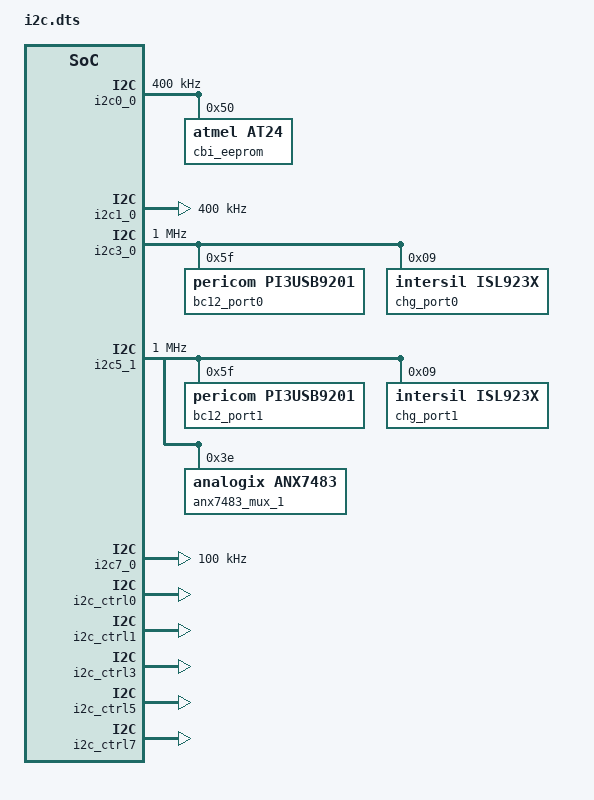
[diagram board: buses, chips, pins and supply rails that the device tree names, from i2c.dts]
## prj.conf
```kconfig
# Copyright 2022 The ChromiumOS Authors
# Use of this source code is governed by a BSD-style license that can be
# found in the LICENSE file.

CONFIG_BOARD_CRAASK=y
CONFIG_PLATFORM_EC_OCPC=y

# Sensor drivers
CONFIG_PLATFORM_EC_ACCELGYRO_LSM6DSO=y
CONFIG_PLATFORM_EC_ACCEL_BMA4XX=y
CONFIG_PLATFORM_EC_ACCELGYRO_BMI_COMM_I2C=y
CONFIG_PLATFORM_EC_ACCELGYRO_BMI3XX=y
CONFIG_PLATFORM_EC_DYNAMIC_MOTION_SENSOR_COUNT=y

CONFIG_PLATFORM_EC_BUTTONS_RUNTIME_CONFIG=y

CONFIG_PLATFORM_EC_CHARGER_PROFILE_OVERRIDE=y
```

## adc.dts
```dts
/* Copyright 2022 The ChromiumOS Authors
 * Use of this source code is governed by a BSD-style license that can be
 * found in the LICENSE file.
 */

/ {
	named-adc-channels {
		compatible = "named-adc-channels";

		adc_ec_vsense_pp1050_proc: ec_vsense_pp1050_proc {
			enum-name = "ADC_PP1050_PROC";
			io-channels = <&adc0 4>;
		};
		adc_ec_vsense_pp3300_s5: ec_vsense_pp3300_s5 {
			enum-name = "ADC_PP3300_S5";
			io-channels = <&adc0 6>;
		};
		adc_temp_sensor_1: temp_sensor_1 {
			enum-name = "ADC_TEMP_SENSOR_1";
			io-channels = <&adc0 0>;
		};
		adc_temp_sensor_2: temp_sensor_2 {
			enum-name = "ADC_TEMP_SENSOR_2";
			io-channels = <&adc0 1>;
		};
		adc_temp_sensor_3: temp_sensor_3 {
			enum-name = "ADC_TEMP_SENSOR_3";
			io-channels = <&adc0 10>;
		};
	};
};

&adc0 {
	status = "okay";
	pinctrl-0 = <&adc0_chan0_gp45
		     &adc0_chan1_gp44
		     &adc0_chan4_gp41
		     &adc0_chan6_gp34
		     &adc0_chan10_gpe0>;
	pinctrl-names = "default";
};
```

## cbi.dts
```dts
/* Copyright 2022 The ChromiumOS Authors
 * Use of this source code is governed by a BSD-style license that can be
 * found in the LICENSE file.
 */

/ {
	/* Craask-specific fw_config fields. */
	nissa-fw-config {
		/*
		 * FW_CONFIG field to describe Lid sensor orientation.
		 */
		lid-inversion {
			enum-name = "FW_LID_INVERSION";
			start = <8>;
			size = <1>;

			/*
			 * 0: regular placement of the lid sensor
			 * 1: rotate 180' of xy plane.
			 */
			regular {
				compatible = "cros-ec,cbi-fw-config-value";
				enum-name = "FW_LID_REGULAR";
				value = <0>;
				default;
			};
			xy_rotate_180 {
				compatible = "cros-ec,cbi-fw-config-value";
				enum-name = "FW_LID_XY_ROT_180";
				value = <1>;
			};
		};
		/*
		 * FW_CONFIG field to describe Clamshell/Convertible.
		 */
		form_factor {
			enum-name = "FORM_FACTOR";
			start = <10>;
			size = <1>;

			/*
			 * 0: convertible, 1: clamshell
			 */
			convertible {
				compatible = "cros-ec,cbi-fw-config-value";
				enum-name = "CONVERTIBLE";
				value = <0>;
			};
			clamshell {
				compatible = "cros-ec,cbi-fw-config-value";
				enum-name = "CLAMSHELL";
				value = <1>;
			};
		};
	};
	/* Craask-specific ssfc fields. */
	cbi-ssfc {
		compatible = "named-cbi-ssfc";
		/*
		 * SSFC bit0-1 was defined for AUDIO CODEC.
		 * 0: ALC5682I_VS
		 * 1: NAU8825
		 */
		audio_codec {
			enum-name = "AUDIO_CODEC";
			size = <2>;
		};
		/*
		 * SSFC field to identify LID motion sensor.
		 */
		lid-sensor {
			enum-name = "LID_SENSOR";
			size = <2>;

			lid_sensor_0: lis2dw12 {
				compatible = "named-cbi-ssfc-value";
				status = "okay";
				value = <0>;
				default;
			};
			lid_sensor_1: bma422 {
				compatible = "named-cbi-ssfc-value";
				status = "okay";
				value = <1>;
			};
		};
		/*
		 * SSFC field to identify BASE motion sensor.
		 */
		base-sensor {
			enum-name = "BASE_SENSOR";
			size = <2>;

			base_sensor_0: lsm6dso {
				compatible = "named-cbi-ssfc-value";
				status = "okay";
				value = <0>;
				default;
			};
			base_sensor_1: bmi323 {
				compatible = "named-cbi-ssfc-value";
				status = "okay";
				value = <1>;
			};
		};
	};
};
```

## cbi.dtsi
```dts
/* Copyright 2022 The ChromiumOS Authors
 * Use of this source code is governed by a BSD-style license that can be
 * found in the LICENSE file.
 */

/ {
	/* Craask-specific fw_config fields. */
	nissa-fw-config {
		/*
		 * FW_CONFIG field to describe Lid sensor orientation.
		 */
		lid-inversion {
			enum-name = "FW_LID_INVERSION";
			start = <8>;
			size = <1>;

			/*
			 * 0: regular placement of the lid sensor
			 * 1: rotate 180' of xy plane.
			 */
			regular {
				compatible = "cros-ec,cbi-fw-config-value";
				enum-name = "FW_LID_REGULAR";
				value = <0>;
				default;
			};
			xy_rotate_180 {
				compatible = "cros-ec,cbi-fw-config-value";
				enum-name = "FW_LID_XY_ROT_180";
				value = <1>;
			};
		};
		/*
		 * FW_CONFIG field to describe Clamshell/Convertible.
		 */
		form_factor {
			enum-name = "FORM_FACTOR";
			start = <9>;
			size = <1>;

			/*
			 * 0: convertible, 1: clamshell
			 */
			convertible {
				compatible = "cros-ec,cbi-fw-config-value";
				enum-name = "CONVERTIBLE";
				value = <0>;
			};
			clamshell {
				compatible = "cros-ec,cbi-fw-config-value";
				enum-name = "CLAMSHELL";
				value = <1>;
			};
		};

		/*
		 * FW_CONFIG field to indicate which keyboard numeric
		 * pad should be used.
		 */
		kb-numeric-pad {
			enum-name = "FW_KB_NUMERIC_PAD";
			start = <16>;
			size = <1>;

			no-kb-numpad {
				compatible = "cros-ec,cbi-fw-config-value";
				enum-name = "FW_KB_NUMERIC_PAD_ABSENT";
				value = <0>;
				default;
			};
			kb-numpad-present {
				compatible = "cros-ec,cbi-fw-config-value";
				enum-name = "FW_KB_NUMERIC_PAD_PRESENT";
				value = <1>;
			};
		};

		/*
		 * FW_CONFIG field to enable fan or not.
		 */
		fan {
			enum-name = "FW_FAN";
			start = <17>;
			size = <1>;

			no-fan {
				compatible = "cros-ec,cbi-fw-config-value";
				enum-name = "FW_FAN_NOT_PRESENT";
				value = <0>;
			};
			fan-present {
				compatible = "cros-ec,cbi-fw-config-value";
				enum-name = "FW_FAN_PRESENT";
				value = <1>;
				/*
				 * Set as default so that unprovisioned
				 * configs will run the fan regardless.
				 */
				default;
			};
		};

		/*
		 * FW_CONFIG field to enable KB back light or not.
		 */
		kb-bl {
			enum-name = "FW_KB_BL";
			start = <18>;
			size = <1>;

			no-kb-bl {
				compatible = "cros-ec,cbi-fw-config-value";
				enum-name = "FW_KB_BL_NOT_PRESENT";
				value = <0>;
			};
			kb-bl-present {
				compatible = "cros-ec,cbi-fw-config-value";
				enum-name = "FW_KB_BL_PRESENT";
				value = <1>;
			};
		};
	};
	/* Craask-specific ssfc fields. */
	cbi-ssfc {
		compatible = "named-cbi-ssfc";
		/*
		 * SSFC bit0-1 was defined for AUDIO CODEC.
		 * 0: ALC5682I_VS
		 * 1: NAU8825
		 */
		audio_codec {
			enum-name = "AUDIO_CODEC";
			size = <2>;
		};
		/*
		 * SSFC field to identify LID motion sensor.
		 */
		lid-sensor {
			enum-name = "LID_SENSOR";
			size = <2>;

			lid_sensor_0: lis2dw12 {
				compatible = "named-cbi-ssfc-value";
				status = "okay";
				value = <0>;
				default;
			};
			lid_sensor_1: bma422 {
				compatible = "named-cbi-ssfc-value";
				status = "okay";
				value = <1>;
			};
		};
		/*
		 * SSFC field to identify BASE motion sensor.
		 */
		base-sensor {
			enum-name = "BASE_SENSOR";
			size = <2>;

			base_sensor_0: lsm6dso {
				compatible = "named-cbi-ssfc-value";
				status = "okay";
				value = <0>;
				default;
			};
			base_sensor_1: bmi323 {
				compatible = "named-cbi-ssfc-value";
				status = "okay";
				value = <1>;
			};
		};
	};
};
```

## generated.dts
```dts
/* Copyright 2022 The ChromiumOS Authors
 * Use of this source code is governed by a BSD-style license that can be
 * found in the LICENSE file.
 */

/ {

	named-adc-channels {
		compatible = "named-adc-channels";

		adc_ec_vsense_pp1050_proc: ec_vsense_pp1050_proc {
			enum-name = "ADC_PP1050_PROC";
			io-channels = <&adc0 4>;
		};
		adc_ec_vsense_pp3300_s5: ec_vsense_pp3300_s5 {
			enum-name = "ADC_PP3300_S5";
			io-channels = <&adc0 6>;
		};
		adc_temp_sensor_1: temp_sensor_1 {
			enum-name = "ADC_TEMP_SENSOR_1";
			io-channels = <&adc0 0>;
		};
		adc_temp_sensor_2: temp_sensor_2 {
			enum-name = "ADC_TEMP_SENSOR_2";
			io-channels = <&adc0 1>;
		};
		adc_temp_sensor_3: temp_sensor_3 {
			enum-name = "ADC_TEMP_SENSOR_3";
			io-channels = <&adc0 10>;
		};
	};

	named-gpios {
		compatible = "named-gpios";

		gpio_acc_int_l: acc_int_l {
			gpios = <&gpio5 0 GPIO_INPUT>;
		};
		gpio_all_sys_pwrgd: all_sys_pwrgd {
			gpios = <&gpioa 7 GPIO_INPUT>;
		};
		gpio_ccd_mode_odl: ccd_mode_odl {
			gpios = <&gpioe 5 GPIO_INPUT>;
			enum-name = "GPIO_CCD_MODE_ODL";
		};
		gpio_cpu_c10_gate_l: cpu_c10_gate_l {
			gpios = <&gpio6 7 GPIO_INPUT>;
		};
		gpio_ec_battery_pres_odl: ec_battery_pres_odl {
			gpios = <&gpioa 3 GPIO_INPUT>;
			enum-name = "GPIO_BATT_PRES_ODL";
		};
		gpio_ec_cbi_wp: ec_cbi_wp {
			gpios = <&gpio7 4 GPIO_OUTPUT>;
		};
		gpio_ec_edp_bl_en_od: ec_edp_bl_en_od {
			gpios = <&gpiod 3 GPIO_ODR_HIGH>;
			enum-name = "GPIO_ENABLE_BACKLIGHT";
		};
		gpio_ec_entering_rw: ec_entering_rw {
			gpios = <&gpio0 3 GPIO_OUTPUT>;
			enum-name = "GPIO_ENTERING_RW";
		};
		gpio_ec_gsc_packet_mode: ec_gsc_packet_mode {
			gpios = <&gpio7 5 GPIO_OUTPUT>;
			enum-name = "GPIO_PACKET_MODE_EN";
		};
		gpio_ec_kso_02_inv: ec_kso_02_inv {
			gpios = <&gpio1 7 (GPIO_OUTPUT | GPIO_ACTIVE_LOW)>;
		};
		gpio_ec_pch_wake_odl: ec_pch_wake_odl {
			gpios = <&gpiob 0 GPIO_ODR_LOW>;
		};
		gpio_ec_prochot_odl: ec_prochot_odl {
			gpios = <&gpiof 1 GPIO_ODR_HIGH>;
		};
		gpio_ec_soc_dsw_pwrok: ec_soc_dsw_pwrok {
			gpios = <&gpio6 1 GPIO_OUTPUT>;
		};
		gpio_ec_soc_hdmi_hpd: ec_soc_hdmi_hpd {
			gpios = <&gpioe 4 GPIO_OUTPUT>;
		};
		gpio_ec_soc_int_odl: ec_soc_int_odl {
			gpios = <&gpio8 0 GPIO_ODR_HIGH>;
			enum-name = "GPIO_EC_INT_L";
		};
		gpio_ec_soc_pch_pwrok_od: ec_soc_pch_pwrok_od {
			gpios = <&gpio7 2 GPIO_ODR_HIGH>;
		};
		gpio_ec_soc_pwr_btn_odl: ec_soc_pwr_btn_odl {
			gpios = <&gpioc 1 GPIO_ODR_HIGH>;
			enum-name = "GPIO_PCH_PWRBTN_L";
		};
		gpio_ec_soc_rsmrst_l: ec_soc_rsmrst_l {
			gpios = <&gpioa 6 GPIO_OUTPUT>;
		};
		gpio_ec_soc_rtcrst: ec_soc_rtcrst {
			gpios = <&gpio7 6 GPIO_OUTPUT>;
		};
		gpio_ec_soc_sys_pwrok: ec_soc_sys_pwrok {
			gpios = <&gpio3 7 GPIO_OUTPUT>;
		};
		gpio_ec_soc_vccst_pwrgd_od: ec_soc_vccst_pwrgd_od {
			gpios = <&gpioa 4 GPIO_ODR_HIGH>;
		};
		gpio_ec_wp_odl: ec_wp_odl {
			gpios = <&gpioa 1 (GPIO_INPUT | GPIO_ACTIVE_LOW)>;
		};
		gpio_en_kb_bl: en_kb_bl {
			gpios = <&gpioa 0 GPIO_OUTPUT>;
			enum-name = "GPIO_EN_KEYBOARD_BACKLIGHT";
		};
		gpio_en_pp3300_s5: en_pp3300_s5 {
			gpios = <&gpiob 6 GPIO_OUTPUT>;
			enum-name = "GPIO_TEMP_SENSOR_POWER";
		};
		gpio_en_pp5000_pen_x: en_pp5000_pen_x {
			gpios = <&gpioe 2 GPIO_OUTPUT>;
		};
		gpio_en_pp5000_s5: en_pp5000_s5 {
			gpios = <&gpio4 0 GPIO_OUTPUT>;
		};
		gpio_en_slp_z: en_slp_z {
			gpios = <&gpioe 1 GPIO_OUTPUT>;
		};
		gpio_en_usb_a0_vbus: en_usb_a0_vbus {
			gpios = <&gpio9 1 GPIO_OUTPUT>;
		};
		gpio_gsc_ec_pwr_btn_odl: gsc_ec_pwr_btn_odl {
			gpios = <&gpio0 0 GPIO_INPUT_PULL_UP>;
			enum-name = "GPIO_POWER_BUTTON_L";
		};
		gpio_hdmi_sel: hdmi_sel {
			gpios = <&gpioc 6 GPIO_OUTPUT>;
		};
		gpio_imu_int_l: imu_int_l {
			gpios = <&gpio5 6 GPIO_INPUT>;
		};
		gpio_imvp91_vrrdy_od: imvp91_vrrdy_od {
			gpios = <&gpio4 3 GPIO_INPUT>;
		};
		gpio_lid_open: lid_open {
			gpios = <&gpiod 2 GPIO_INPUT>;
			enum-name = "GPIO_LID_OPEN";
		};
		gpio_pen_detect_odl: pen_detect_odl {
			gpios = <&gpio9 6 GPIO_INPUT_PULL_UP>;
		};
		gpio_pg_pp1050_mem_s3_od: pg_pp1050_mem_s3_od {
			gpios = <&gpiof 0 GPIO_INPUT>;
		};
		gpio_pg_pp5000_s5_od: pg_pp5000_s5_od {
			gpios = <&gpio4 2 GPIO_INPUT>;
		};
		gpio_rsmrst_pwrgd_l: rsmrst_pwrgd_l {
			gpios = <&gpio9 4 GPIO_INPUT_PULL_UP>;
		};
		gpio_slp_s0_l: slp_s0_l {
			gpios = <&gpio9 7 GPIO_INPUT>;
		};
		gpio_slp_s3_l: slp_s3_l {
			gpios = <&gpioa 5 GPIO_INPUT>;
		};
		gpio_slp_s4_l: slp_s4_l {
			gpios = <&gpio7 0 GPIO_INPUT>;
		};
		gpio_slp_sus_l: slp_sus_l {
			gpios = <&gpio6 2 GPIO_INPUT>;
		};
		gpio_sub_usb_a1_ilimit_sdp: sub_usb_a1_ilimit_sdp {
			gpios = <&gpiod 5 GPIO_OUTPUT>;
			enum-name = "GPIO_USB2_ILIM_SEL";
		};
		gpio_sys_rst_odl: sys_rst_odl {
			gpios = <&gpioc 5 GPIO_ODR_HIGH>;
		};
		gpio_tablet_mode_l: tablet_mode_l {
			gpios = <&gpio9 5 GPIO_INPUT>;
			enum-name = "GPIO_TABLET_MODE_L";
		};
		gpio_usb_a0_ilimit_sdp: usb_a0_ilimit_sdp {
			/* pin is output only */
			gpios = <&gpio8 5 (GPIO_GET_OUTPUT | GPIO_OUTPUT)>;
			enum-name = "GPIO_USB1_ILIM_SEL";
		};
		gpio_usb_c0_int_odl: usb_c0_int_odl {
			gpios = <&gpio0 1 GPIO_INPUT_PULL_UP>;
		};
		gpio_vccin_aux_vid0: vccin_aux_vid0 {
			gpios = <&gpio9 2 (GPIO_INPUT | GPIO_VOLTAGE_1P8)>;
		};
		gpio_vccin_aux_vid1: vccin_aux_vid1 {
			gpios = <&gpioe 3 (GPIO_INPUT | GPIO_VOLTAGE_1P8)>;
		};
		gpio_voldn_btn_odl: voldn_btn_odl {
			gpios = <&gpio9 3 GPIO_INPUT_PULL_UP>;
			enum-name = "GPIO_VOLUME_DOWN_L";
		};
		gpio_volup_btn_odl: volup_btn_odl {
			gpios = <&gpioa 2 GPIO_INPUT_PULL_UP>;
			enum-name = "GPIO_VOLUME_UP_L";
		};
	};

	named-i2c-ports {
		compatible = "named-i2c-ports";

		i2c_ec_i2c_eeprom: ec_i2c_eeprom {
			i2c-port = <&i2c0_0>;
			enum-names = "I2C_PORT_EEPROM";
		};
		i2c_ec_i2c_sensor: ec_i2c_sensor {
			i2c-port = <&i2c1_0>;
			enum-names = "I2C_PORT_SENSOR";
		};
		i2c_ec_i2c_usb_c0: ec_i2c_usb_c0 {
			i2c-port = <&i2c3_0>;
			enum-names = "I2C_PORT_USB_C0_TCPC";
		};
		i2c_ec_i2c_sub_usb_c1: ec_i2c_sub_usb_c1 {
			i2c-port = <&i2c5_1>;
			enum-names = "I2C_PORT_USB_C1_TCPC";
		};
		i2c_ec_i2c_batt: ec_i2c_batt {
			i2c-port = <&i2c7_0>;
			enum-names = "I2C_PORT_BATTERY";
		};
	};
};

&adc0 {
	status = "okay";
	pinctrl-0 = <&adc0_chan0_gp45
		     &adc0_chan1_gp44
		     &adc0_chan4_gp41
		     &adc0_chan6_gp34
		     &adc0_chan10_gpe0>;
	pinctrl-names = "default";
};

&i2c0_0 {
	status = "okay";
	pinctrl-0 = <&i2c0_0_sda_scl_gpb4_b5>;
	pinctrl-names = "default";
};

&i2c1_0 {
	status = "okay";
	pinctrl-0 = <&i2c1_0_sda_scl_gp87_90>;
	pinctrl-names = "default";
};

&i2c3_0 {
	status = "okay";
	pinctrl-0 = <&i2c3_0_sda_scl_gpd0_d1>;
	pinctrl-names = "default";
};

&i2c5_1 {
	status = "okay";
	pinctrl-0 = <&i2c5_1_sda_scl_gpf4_f5>;
	pinctrl-names = "default";
};

&i2c7_0 {
	status = "okay";
	pinctrl-0 = <&i2c7_0_sda_scl_gpb2_b3>;
	pinctrl-names = "default";
};

&i2c_ctrl0 {
	status = "okay";
};

&i2c_ctrl1 {
	status = "okay";
};

&i2c_ctrl3 {
	status = "okay";
};

&i2c_ctrl5 {
	status = "okay";
};

&i2c_ctrl7 {
	status = "okay";
};
```

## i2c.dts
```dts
/* Copyright 2022 The ChromiumOS Authors
 * Use of this source code is governed by a BSD-style license that can be
 * found in the LICENSE file.
 */

/ {
	named-i2c-ports {
		compatible = "named-i2c-ports";

		i2c_ec_i2c_eeprom: ec_i2c_eeprom {
			i2c-port = <&i2c0_0>;
			enum-names = "I2C_PORT_EEPROM";
		};
		i2c_ec_i2c_sensor: ec_i2c_sensor {
			i2c-port = <&i2c1_0>;
			enum-names = "I2C_PORT_SENSOR";
		};
		i2c_ec_i2c_usb_c0: ec_i2c_usb_c0 {
			i2c-port = <&i2c3_0>;
			enum-names = "I2C_PORT_USB_C0_TCPC";
		};
		i2c_ec_i2c_sub_usb_c1: ec_i2c_sub_usb_c1 {
			i2c-port = <&i2c5_1>;
			enum-names = "I2C_PORT_USB_C1_TCPC";
		};
		i2c_ec_i2c_batt: ec_i2c_batt {
			i2c-port = <&i2c7_0>;
			enum-names = "I2C_PORT_BATTERY";
		};
	};
};

&i2c0_0 {
	label = "I2C_EEPROM";
	clock-frequency = <I2C_BITRATE_FAST>;
	status = "okay";
	pinctrl-0 = <&i2c0_0_sda_scl_gpb4_b5>;
	pinctrl-names = "default";

	cbi_eeprom: eeprom@50 {
		compatible = "atmel,at24";
		reg = <0x50>;
		size = <2048>;
		pagesize = <16>;
		address-width = <8>;
		timeout = <5>;
	};
};

/* Set bus speeds for I2C */
&i2c1_0 {
	label = "I2C_SENSOR";
	clock-frequency = <I2C_BITRATE_FAST>;
	status = "okay";
	pinctrl-0 = <&i2c1_0_sda_scl_gp87_90>;
	pinctrl-names = "default";
};

&i2c3_0 {
	label = "I2C_USB_C0_TCPC";
	clock-frequency = <I2C_BITRATE_FAST_PLUS>;
	status = "okay";
	pinctrl-0 = <&i2c3_0_sda_scl_gpd0_d1>;
	pinctrl-names = "default";

	bc12_port0: pi3usb9201@5f {
		compatible = "pericom,pi3usb9201";
		status = "okay";
		reg = <0x5f>;
		/*
		 * BC1.2 interrupt is shared with TCPC, so
		 * IRQ is not specified here and handled by
		 * usb_c0_interrupt.
		 */
	};

	chg_port0: isl923x@9 {
		compatible = "intersil,isl923x";
		status = "okay";
		reg = <0x9>;
	};
};

&i2c5_1 {
	label = "I2C_SUB_C1_TCPC";
	clock-frequency = <I2C_BITRATE_FAST_PLUS>;
	status = "okay";
	pinctrl-0 = <&i2c5_1_sda_scl_gpf4_f5>;
	pinctrl-names = "default";

	bc12_port1: pi3usb9201@5f {
		compatible = "pericom,pi3usb9201";
		status = "okay";
		reg = <0x5f>;
	};

	chg_port1: isl923x@9 {
		compatible = "intersil,isl923x";
		status = "okay";
		reg = <0x9>;
	};

	anx7483_mux_1: anx7483-mux-1@3e {
		compatible = "analogix,anx7483";
		reg = <0x3e>;
		board-set = "anx7483_set_default_tuning";
	};
};

&i2c7_0 {
	label = "I2C_BATTERY";
	clock-frequency = <I2C_BITRATE_STANDARD>;
	status = "okay";
	pinctrl-0 = <&i2c7_0_sda_scl_gpb2_b3>;
	pinctrl-names = "default";
};

&i2c_ctrl0 {
	status = "okay";
};

&i2c_ctrl1 {
	status = "okay";
};

&i2c_ctrl3 {
	status = "okay";
};

&i2c_ctrl5 {
	status = "okay";
};

&i2c_ctrl7 {
	status = "okay";
};
```

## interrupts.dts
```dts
/* Copyright 2022 The ChromiumOS Authors
 * Use of this source code is governed by a BSD-style license that can be
 * found in the LICENSE file.
 */

/ {
	aliases {
		int-wp = &int_wp_l;
	};

	gpio-interrupts {
		compatible = "cros-ec,gpio-interrupts";

		int_power_button: power_button {
			irq-pin = <&gpio_gsc_ec_pwr_btn_odl>;
			flags = <GPIO_INT_EDGE_BOTH>;
			handler = "power_button_interrupt";
		};
		int_wp_l: wp_l {
			irq-pin = <&gpio_ec_wp_odl>;
			flags = <GPIO_INT_EDGE_BOTH>;
			handler = "switch_interrupt";
		};
		int_lid_open: lid_open {
			irq-pin = <&gpio_lid_open>;
			flags = <GPIO_INT_EDGE_BOTH>;
			handler = "lid_interrupt";
		};
		int_tablet_mode: tablet_mode {
			irq-pin = <&gpio_tablet_mode_l>;
			flags = <GPIO_INT_EDGE_BOTH>;
			handler = "gmr_tablet_switch_isr";
		};
		int_imu: ec_imu {
			irq-pin = <&gpio_imu_int_l>;
			flags = <GPIO_INT_EDGE_FALLING>;
			handler = "motion_interrupt";
		};
		int_vol_down: vol_down {
			irq-pin = <&gpio_voldn_btn_odl>;
			flags = <GPIO_INT_EDGE_BOTH>;
			handler = "button_interrupt";
		};
		int_vol_up: vol_up {
			irq-pin = <&gpio_volup_btn_odl>;
			flags = <GPIO_INT_EDGE_BOTH>;
			handler = "button_interrupt";
		};
		int_usb_c0: usb_c0 {
			irq-pin = <&gpio_usb_c0_int_odl>;
			flags = <GPIO_INT_EDGE_FALLING>;
			handler = "usb_interrupt";
		};
		int_usb_c1: usb_c1 {
			irq-pin = <&gpio_sb_1>;
			flags = <GPIO_INT_EDGE_FALLING>;
			handler = "usb_interrupt";
		};
	};
};
```

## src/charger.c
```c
/* Copyright 2022 The ChromiumOS Authors
 * Use of this source code is governed by a BSD-style license that can be
 * found in the LICENSE file.
 */

#include <zephyr/logging/log.h>

#include "battery.h"
#include "charger.h"
#include "charger/isl923x_public.h"
#include "console.h"
#include "extpower.h"
#include "usb_mux.h"
#include "usb_pd.h"
#include "nissa_common.h"

LOG_MODULE_DECLARE(nissa, CONFIG_NISSA_LOG_LEVEL);

int extpower_is_present(void)
{
	int port;
	int rv;
	bool acok;

	for (port = 0; port < board_get_usb_pd_port_count(); port++) {
		rv = raa489000_is_acok(port, &acok);
		if ((rv == EC_SUCCESS) && acok)
			return 1;
	}

	return 0;
}

/*
 * Craask does not have a GPIO indicating whether extpower is present,
 * so detect using the charger(s).
 */
__override void board_check_extpower(void)
{
	static int last_extpower_present;
	int extpower_present = extpower_is_present();

	if (last_extpower_present ^ extpower_present)
		extpower_handle_update(extpower_present);

	last_extpower_present = extpower_present;
}

__override void board_hibernate(void)
{
	/* Shut down the chargers */
	if (board_get_usb_pd_port_count() == 2)
		raa489000_hibernate(CHARGER_SECONDARY, true);
	raa489000_hibernate(CHARGER_PRIMARY, true);
	LOG_INF("Charger(s) hibernated");
	cflush();
}
```

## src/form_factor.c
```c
/* Copyright 2022 The ChromiumOS Authors
 * Use of this source code is governed by a BSD-style license that can be
 * found in the LICENSE file.
 */

#include <zephyr/devicetree.h>
#include <zephyr/logging/log.h>

#include "accelgyro.h"
#include "button.h"
#include "cros_board_info.h"
#include "cros_cbi.h"
#include "driver/accelgyro_bmi323.h"
#include "driver/accelgyro_lsm6dso.h"
#include "gpio/gpio_int.h"
#include "hooks.h"
#include "motionsense_sensors.h"
#include "nissa_sub_board.h"
#include "tablet_mode.h"

#include "nissa_common.h"

LOG_MODULE_DECLARE(nissa, CONFIG_NISSA_LOG_LEVEL);

/*
 * Mainboard orientation support.
 */

#define LIS_ALT_MAT SENSOR_ROT_STD_REF_NAME(DT_NODELABEL(lid_rot_bma422))
#define BMA_ALT_MAT SENSOR_ROT_STD_REF_NAME(DT_NODELABEL(lid_rot_ref))
#define ALT_MAT SENSOR_ROT_STD_REF_NAME(DT_NODELABEL(base_rot_ver1))
#define LID_SENSOR SENSOR_ID(DT_NODELABEL(lid_accel))
#define BASE_SENSOR SENSOR_ID(DT_NODELABEL(base_accel))
#define BASE_GYRO SENSOR_ID(DT_NODELABEL(base_gyro))
#define ALT_LID_S SENSOR_ID(DT_NODELABEL(alt_lid_accel))

static bool use_alt_sensor;

void motion_interrupt(enum gpio_signal signal)
{
	if (use_alt_sensor)
		bmi3xx_interrupt(signal);
	else
		lsm6dso_interrupt(signal);
}

static void form_factor_init(void)
{
	int ret;
	uint32_t val;
	enum nissa_sub_board_type sb = nissa_get_sb_type();

	ret = cbi_get_board_version(&val);
	if (ret != EC_SUCCESS) {
		LOG_ERR("Error retrieving CBI BOARD_VER.");
		return;
	}
	/*
	 * The volume up/down button are exchanged on ver3 USB
	 * sub board.
	 *
	 * LTE:
	 *   volup -> gpioa2, voldn -> gpio93
	 * USB:
	 *   volup -> gpio93, voldn -> gpioa2
	 */
	if (val == 3 && sb == NISSA_SB_C_A) {
		LOG_INF("Volume up/down btn exchanged on ver3 USB sku");
		buttons[BUTTON_VOLUME_UP].gpio = GPIO_VOLUME_DOWN_L;
		buttons[BUTTON_VOLUME_DOWN].gpio = GPIO_VOLUME_UP_L;
	}

	/*
	 * If the board version is 1
	 * use ver1 rotation matrix.
	 */
	if (val == 1) {
		LOG_INF("Switching to ver1 base");
		motion_sensors[BASE_SENSOR].rot_standard_ref = &ALT_MAT;
		motion_sensors[BASE_GYRO].rot_standard_ref = &ALT_MAT;
	}

	/*
	 * If the firmware config indicates
	 * an craaskbowl form factor, use the alternative
	 * rotation matrix.
	 */
	ret = cros_cbi_get_fw_config(FW_LID_INVERSION, &val);
	if (ret != 0) {
		LOG_ERR("Error retrieving CBI FW_CONFIG field %d",
			FW_LID_INVERSION);
		return;
	}
	if (val == FW_LID_XY_ROT_180) {
		LOG_INF("Lid sensor placement rotate 180 on xy plane");
		motion_sensors[LID_SENSOR].rot_standard_ref = &LIS_ALT_MAT;
		motion_sensors_alt[ALT_LID_S].rot_standard_ref = &BMA_ALT_MAT;
	}

	/* check which base sensor is used for motion_interrupt */
	use_alt_sensor = cros_cbi_ssfc_check_match(
		CBI_SSFC_VALUE_ID(DT_NODELABEL(base_sensor_1)));

	motion_sensors_check_ssfc();

	/* Check if it's clamshell or convertible */
	ret = cros_cbi_get_fw_config(FORM_FACTOR, &val);
	if (ret != 0) {
		LOG_ERR("Error retrieving CBI FW_CONFIG field %d", FORM_FACTOR);
		return;
	}
	if (val == CLAMSHELL) {
		LOG_INF("Clamshell: disable motionsense function.");
		motion_sensor_count = 0;
		gmr_tablet_switch_disable();
		gpio_disable_dt_interrupt(GPIO_INT_FROM_NODELABEL(int_imu));
		gpio_pin_configure_dt(GPIO_DT_FROM_NODELABEL(gpio_imu_int_l),
				      GPIO_DISCONNECTED);
	}
}
DECLARE_HOOK(HOOK_INIT, form_factor_init, HOOK_PRIO_POST_I2C);
```

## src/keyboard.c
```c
/* Copyright 2022 The ChromiumOS Authors
 * Use of this source code is governed by a BSD-style license that can be
 * found in the LICENSE file.
 */

#include "ec_commands.h"
#include "keyboard_scan.h"
#include "timer.h"

/* Keyboard scan setting */
__override struct keyboard_scan_config keyscan_config = {
	/* Increase from 50 us, because KSO_02 passes through the H1. */
	.output_settle_us = 80,
	/* Other values should be the same as the default configuration. */
	.debounce_down_us = 9 * MSEC,
	.debounce_up_us = 30 * MSEC,
	.scan_period_us = 3 * MSEC,
	.min_post_scan_delay_us = 1000,
	.poll_timeout_us = 100 * MSEC,
	.actual_key_mask = {
		0x1c, 0xfe, 0xff, 0xff, 0xff, 0xf5, 0xff,
		0xa4, 0xff, 0xfe, 0x55, 0xfa, 0xca  /* full set */
	},
};

static const struct ec_response_keybd_config craask_kb = {
	.num_top_row_keys = 10,
	.action_keys = {
		TK_BACK,		/* T1 */
		TK_REFRESH,		/* T2 */
		TK_FULLSCREEN,		/* T3 */
		TK_OVERVIEW,		/* T4 */
		TK_SNAPSHOT,		/* T5 */
		TK_BRIGHTNESS_DOWN,	/* T6 */
		TK_BRIGHTNESS_UP,	/* T7 */
		TK_VOL_MUTE,		/* T8 */
		TK_VOL_DOWN,		/* T9 */
		TK_VOL_UP,		/* T10 */
	},
	.capabilities = KEYBD_CAP_SCRNLOCK_KEY,
};

__override const struct ec_response_keybd_config *
board_vivaldi_keybd_config(void)
{
	return &craask_kb;
}
```

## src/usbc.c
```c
/* Copyright 2022 The Chromium OS Authors. All rights reserved.
 * Use of this source code is governed by a BSD-style license that can be
 * found in the LICENSE file.
 */

#include <zephyr/logging/log.h>

#include "charge_state_v2.h"
#include "chipset.h"
#include "cros_board_info.h"
#include "hooks.h"
#include "usb_mux.h"
#include "system.h"
#include "driver/bc12/max14637.h"
#include "driver/charger/isl923x_public.h"
#include "driver/retimer/anx7483_public.h"
#include "driver/tcpm/tcpci.h"
#include "driver/tcpm/raa489000.h"

#include "nissa_common.h"

LOG_MODULE_DECLARE(nissa, CONFIG_NISSA_LOG_LEVEL);

struct tcpc_config_t tcpc_config[CONFIG_USB_PD_PORT_MAX_COUNT] = {
	{
		.bus_type = EC_BUS_TYPE_I2C,
		.i2c_info = {
			.port = I2C_PORT_USB_C0_TCPC,
			.addr_flags = RAA489000_TCPC0_I2C_FLAGS,
		},
		.drv = &raa489000_tcpm_drv,
		/* RAA489000 implements TCPCI 2.0 */
		.flags = TCPC_FLAGS_TCPCI_REV2_0 |
			TCPC_FLAGS_VBUS_MONITOR,
	},
	{ /* sub-board */
		.bus_type = EC_BUS_TYPE_I2C,
		.i2c_info = {
			.port = I2C_PORT_USB_C1_TCPC,
			.addr_flags = RAA489000_TCPC0_I2C_FLAGS,
		},
		.drv = &raa489000_tcpm_drv,
		/* RAA489000 implements TCPCI 2.0 */
		.flags = TCPC_FLAGS_TCPCI_REV2_0 |
			TCPC_FLAGS_VBUS_MONITOR,
	},
};

int board_is_sourcing_vbus(int port)
{
	int regval;

	tcpc_read(port, TCPC_REG_POWER_STATUS, &regval);
	return !!(regval & TCPC_REG_POWER_STATUS_SOURCING_VBUS);
}

int board_set_active_charge_port(int port)
{
	int is_real_port = (port >= 0 && port < CONFIG_USB_PD_PORT_MAX_COUNT);
	int i;
	int old_port;

	if (!is_real_port && port != CHARGE_PORT_NONE)
		return EC_ERROR_INVAL;

	old_port = charge_manager_get_active_charge_port();

	LOG_INF("New chg p%d", port);

	/* Disable all ports. */
	if (port == CHARGE_PORT_NONE) {
		for (i = 0; i < CONFIG_USB_PD_PORT_MAX_COUNT; i++) {
			tcpc_write(i, TCPC_REG_COMMAND,
				   TCPC_REG_COMMAND_SNK_CTRL_LOW);
			raa489000_enable_asgate(i, false);
		}

		return EC_SUCCESS;
	}

	/* Check if port is sourcing VBUS. */
	if (board_is_sourcing_vbus(port)) {
		LOG_WRN("Skip enable p%d", port);
		return EC_ERROR_INVAL;
	}

	/*
	 * Turn off the other ports' sink path FETs, before enabling the
	 * requested charge port.
	 */
	for (i = 0; i < CONFIG_USB_PD_PORT_MAX_COUNT; i++) {
		if (i == port)
			continue;

		if (tcpc_write(i, TCPC_REG_COMMAND,
			       TCPC_REG_COMMAND_SNK_CTRL_LOW))
			LOG_WRN("p%d: sink path disable failed.", i);
		raa489000_enable_asgate(i, false);
	}

	/*
	 * Stop the charger IC from switching while changing ports.  Otherwise,
	 * we can overcurrent the adapter we're switching to. (crbug.com/926056)
	 */
	if (old_port != CHARGE_PORT_NONE)
		charger_discharge_on_ac(1);

	/* Enable requested charge port. */
	if (raa489000_enable_asgate(port, true) ||
	    tcpc_write(port, TCPC_REG_COMMAND,
		       TCPC_REG_COMMAND_SNK_CTRL_HIGH)) {
		LOG_WRN("p%d: sink path enable failed.", port);
		charger_discharge_on_ac(0);
		return EC_ERROR_UNKNOWN;
	}

	/* Allow the charger IC to begin/continue switching. */
	charger_discharge_on_ac(0);

	return EC_SUCCESS;
}

uint16_t tcpc_get_alert_status(void)
{
	uint16_t status = 0;
	int regval;

	/*
	 * The interrupt line is shared between the TCPC and BC1.2 detector IC.
	 * Therefore, go out and actually read the alert registers to report the
	 * alert status.
	 */
	if (!gpio_pin_get_dt(GPIO_DT_FROM_NODELABEL(gpio_usb_c0_int_odl))) {
		if (!tcpc_read16(0, TCPC_REG_ALERT, &regval)) {
			/* The TCPCI Rev 1.0 spec says to ignore bits 14:12. */
			if (!(tcpc_config[0].flags & TCPC_FLAGS_TCPCI_REV2_0))
				regval &= ~((1 << 14) | (1 << 13) | (1 << 12));

			if (regval)
				status |= PD_STATUS_TCPC_ALERT_0;
		}
	}

	if (board_get_usb_pd_port_count() == 2 &&
	    !gpio_pin_get_dt(GPIO_DT_FROM_ALIAS(gpio_usb_c1_int_odl))) {
		if (!tcpc_read16(1, TCPC_REG_ALERT, &regval)) {
			/* TCPCI spec Rev 1.0 says to ignore bits 14:12. */
			if (!(tcpc_config[1].flags & TCPC_FLAGS_TCPCI_REV2_0))
				regval &= ~((1 << 14) | (1 << 13) | (1 << 12));

			if (regval)
				status |= PD_STATUS_TCPC_ALERT_1;
		}
	}

	return status;
}

void pd_power_supply_reset(int port)
{
	/* Disable VBUS */
	tcpc_write(port, TCPC_REG_COMMAND, TCPC_REG_COMMAND_SRC_CTRL_LOW);

	/* Notify host of power info change. */
	pd_send_host_event(PD_EVENT_POWER_CHANGE);
}

__override void typec_set_source_current_limit(int port, enum tcpc_rp_value rp)
{
	if (port < 0 || port >= CONFIG_USB_PD_PORT_MAX_COUNT)
		return;

	raa489000_set_output_current(port, rp);
}

int pd_set_power_supply_ready(int port)
{
	int rv;

	if (port >= CONFIG_USB_PD_PORT_MAX_COUNT)
		return EC_ERROR_INVAL;

	/* Disable charging. */
	rv = tcpc_write(port, TCPC_REG_COMMAND, TCPC_REG_COMMAND_SNK_CTRL_LOW);
	if (rv)
		return rv;

	/* Our policy is not to source VBUS when the AP is off. */
	if (chipset_in_state(CHIPSET_STATE_ANY_OFF))
		return EC_ERROR_NOT_POWERED;

	/* Provide Vbus. */
	rv = tcpc_write(port, TCPC_REG_COMMAND, TCPC_REG_COMMAND_SRC_CTRL_HIGH);
	if (rv)
		return rv;

	rv = raa489000_enable_asgate(port, true);
	if (rv)
		return rv;

	/* Notify host of power info change. */
	pd_send_host_event(PD_EVENT_POWER_CHANGE);

	return EC_SUCCESS;
}

void board_reset_pd_mcu(void)
{
	/*
	 * TODO(b:147316511): could send a reset command to the TCPC here
	 * if needed.
	 */
}

/*
 * Because the TCPCs and BC1.2 chips share interrupt lines, it's possible
 * for an interrupt to be lost if one asserts the IRQ, the other does the same
 * then the first releases it: there will only be one falling edge to trigger
 * the interrupt, and the line will be held low. We handle this by running a
 * deferred check after a falling edge to see whether the IRQ is still being
 * asserted. If it is, we assume an interrupt may have been lost and we need
 * to poll each chip for events again.
 */
#define USBC_INT_POLL_DELAY_US 5000

static void poll_c0_int(void);
DECLARE_DEFERRED(poll_c0_int);
static void poll_c1_int(void);
DECLARE_DEFERRED(poll_c1_int);

static void usbc_interrupt_trigger(int port)
{
	schedule_deferred_pd_interrupt(port);
	usb_charger_task_set_event(port, USB_CHG_EVENT_BC12);
}

static inline void poll_usb_gpio(int port, const struct gpio_dt_spec *gpio,
				 const struct deferred_data *ud)
{
	if (!gpio_pin_get_dt(gpio)) {
		usbc_interrupt_trigger(port);
		hook_call_deferred(ud, USBC_INT_POLL_DELAY_US);
	}
}

static void poll_c0_int(void)
{
	poll_usb_gpio(0, GPIO_DT_FROM_NODELABEL(gpio_usb_c0_int_odl),
		      &poll_c0_int_data);
}

static void poll_c1_int(void)
{
	poll_usb_gpio(1, GPIO_DT_FROM_ALIAS(gpio_usb_c1_int_odl),
		      &poll_c1_int_data);
}

void usb_interrupt(enum gpio_signal signal)
{
	int port;
	const struct deferred_data *ud;

	if (signal == GPIO_SIGNAL(DT_NODELABEL(gpio_usb_c0_int_odl))) {
		port = 0;
		ud = &poll_c0_int_data;
	} else {
		port = 1;
		ud = &poll_c1_int_data;
	}
	/*
	 * We've just been called from a falling edge, so there's definitely
	 * no lost IRQ right now. Cancel any pending check.
	 */
	hook_call_deferred(ud, -1);
	/* Trigger polling of TCPC and BC1.2 in respective tasks */
	usbc_interrupt_trigger(port);
	/* Check for lost interrupts in a bit */
	hook_call_deferred(ud, USBC_INT_POLL_DELAY_US);
}

/* BC 1.2 chip Configuration */
const struct max14637_config_t max14637_config[CONFIG_USB_PD_PORT_MAX_COUNT] = {
	{
		.chip_enable_pin =
			GPIO_SIGNAL(DT_NODELABEL(gpio_usb_c0_bc12_vbus_on)),
		.chg_det_pin =
			GPIO_SIGNAL(DT_NODELABEL(gpio_usb_c0_bc12_chg_det_l)),
		.flags = MAX14637_FLAGS_CHG_DET_ACTIVE_LOW,
	},
	{
		.chip_enable_pin =
			GPIO_SIGNAL(DT_NODELABEL(gpio_usb_c1_bc12_vbus_on)),
		.chg_det_pin =
			GPIO_SIGNAL(DT_NODELABEL(gpio_usb_c1_bc12_chg_det_l)),
		.flags = MAX14637_FLAGS_CHG_DET_ACTIVE_LOW,
	},
};

void bc12_chips_init(void)
{
	int i, val;

	if (cbi_get_board_version(&val) == EC_SUCCESS && val == 2) {
		ccprints("BC12 is MAX14637");
		for (i = 0; i < CONFIG_USB_PD_PORT_MAX_COUNT; i++) {
			bc12_ports[i].drv = &max14637_drv;
		}
	} else {
		ccprints("BC12 is PI3USB9201");
	}
}
DECLARE_HOOK(HOOK_INIT, bc12_chips_init, HOOK_PRIO_POST_I2C);
```
